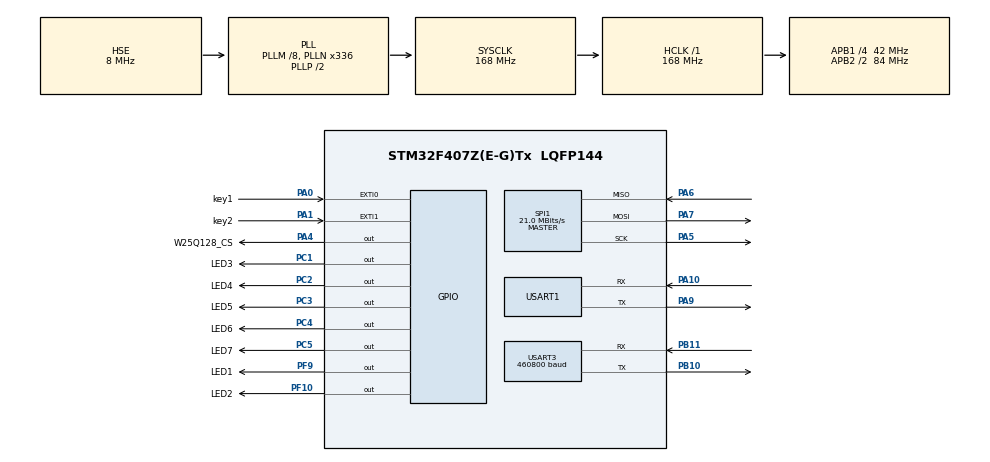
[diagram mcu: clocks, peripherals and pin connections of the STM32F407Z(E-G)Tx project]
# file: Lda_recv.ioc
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Dma.Request0=USART3_RX
Dma.USART3_RX.0.Direction=DMA_PERIPH_TO_MEMORY
Dma.USART3_RX.0.FIFOMode=DMA_FIFOMODE_DISABLE
Dma.USART3_RX.0.Instance=DMA1_Stream1
Dma.USART3_RX.0.MemDataAlignment=DMA_MDATAALIGN_BYTE
Dma.USART3_RX.0.MemInc=DMA_MINC_ENABLE
Dma.USART3_RX.0.Mode=DMA_NORMAL
Dma.USART3_RX.0.PeriphDataAlignment=DMA_PDATAALIGN_BYTE
Dma.USART3_RX.0.PeriphInc=DMA_PINC_DISABLE
Dma.USART3_RX.0.Priority=DMA_PRIORITY_HIGH
Mcu.Family=STM32F4
Mcu.Name=STM32F407Z(E-G)Tx
Mcu.Package=LQFP144
NVIC.DMA1_Stream1_IRQn=true\:0\:0\:false\:false\:true\:true
NVIC.EXTI0_IRQn=true\:1\:1\:true\:false\:true\:true
NVIC.EXTI1_IRQn=true\:1\:0\:true\:false\:true\:true
NVIC.PriorityGroup=NVIC_PRIORITYGROUP_2
NVIC.USART3_IRQn=true\:2\:0\:true\:false\:true\:true
PA0-WKUP.GPIO_Label=key1
PA0-WKUP.GPIO_ModeDefaultEXTI=GPIO_MODE_IT_RISING
PA0-WKUP.GPIO_PuPd=GPIO_PULLDOWN
PA0-WKUP.Signal=GPXTI0
PA1.GPIO_Label=key2
PA1.GPIO_ModeDefaultEXTI=GPIO_MODE_IT_FALLING
PA1.GPIO_PuPd=GPIO_PULLUP
PA1.Signal=GPXTI1
PA10.Mode=Asynchronous
PA10.Signal=USART1_RX
PA4.GPIO_Label=W25Q128_CS
PA4.PinState=GPIO_PIN_SET
PA4.Signal=GPIO_Output
PA5.Mode=Full_Duplex_Master
PA5.Signal=SPI1_SCK
PA6.Mode=Full_Duplex_Master
PA6.Signal=SPI1_MISO
PA7.Mode=Full_Duplex_Master
PA7.Signal=SPI1_MOSI
PA9.Mode=Asynchronous
PA9.Signal=USART1_TX
PB10.Mode=Asynchronous
PB10.Signal=USART3_TX
PB11.Mode=Asynchronous
PB11.Signal=USART3_RX
PC1.GPIO_Label=LED3
PC1.PinState=GPIO_PIN_SET
PC1.Signal=GPIO_Output
PC2.GPIO_Label=LED4
PC2.PinState=GPIO_PIN_SET
PC2.Signal=GPIO_Output
PC3.GPIO_Label=LED5
PC3.PinState=GPIO_PIN_SET
PC3.Signal=GPIO_Output
PC4.GPIO_Label=LED6
PC4.PinState=GPIO_PIN_SET
PC4.Signal=GPIO_Output
PC5.GPIO_Label=LED7
PC5.PinState=GPIO_PIN_SET
PC5.Signal=GPIO_Output
PF10.GPIO_Label=LED2
PF10.PinState=GPIO_PIN_SET
PF10.Signal=GPIO_Output
PF9.GPIO_Label=LED1
PF9.PinState=GPIO_PIN_SET
PF9.Signal=GPIO_Output
PH0-OSC_IN.Mode=HSE-External-Oscillator
PH0-OSC_IN.Signal=RCC_OSC_IN
PH1-OSC_OUT.Mode=HSE-External-Oscillator
PH1-OSC_OUT.Signal=RCC_OSC_OUT
ProjectManager.HeapSize=0x200
ProjectManager.StackSize=0x400
ProjectManager.TargetToolchain=MDK-ARM V5
RCC.48MHZClocksFreq_Value=84000000
RCC.AHBFreq_Value=168000000
RCC.APB1CLKDivider=RCC_HCLK_DIV4
RCC.APB1Freq_Value=42000000
RCC.APB1TimFreq_Value=84000000
RCC.APB2CLKDivider=RCC_HCLK_DIV2
RCC.APB2Freq_Value=84000000
RCC.APB2TimFreq_Value=168000000
RCC.CortexFreq_Value=168000000
RCC.EnbaleCSS=true
RCC.HCLKFreq_Value=168000000
RCC.HSE_VALUE=8000000
RCC.HSI_VALUE=16000000
RCC.LSE_VALUE=32768
RCC.PLLM=8
RCC.PLLN=336
RCC.PLLSourceVirtual=RCC_PLLSOURCE_HSE
RCC.SYSCLKFreq_VALUE=168000000
RCC.SYSCLKSource=RCC_SYSCLKSOURCE_PLLCLK
RCC.VCOOutputFreq_Value=336000000
SPI1.BaudRatePrescaler=SPI_BAUDRATEPRESCALER_4
SPI1.CLKPhase=SPI_PHASE_2EDGE
SPI1.CLKPolarity=SPI_POLARITY_HIGH
SPI1.CalculateBaudRate=21.0 MBits/s
SPI1.Direction=SPI_DIRECTION_2LINES
SPI1.Mode=SPI_MODE_MASTER
SPI1.VirtualType=VM_MASTER
USART1.VirtualMode=VM_ASYNC
USART3.BaudRate=460800
USART3.VirtualMode=VM_ASYNC
board=Lda_recv

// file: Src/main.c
/**
  ******************************************************************************
  * File Name          : main.c
  * Description        : Main program body
  ******************************************************************************
  ** This notice applies to any and all portions of this file
  * that are not between comment pairs USER CODE BEGIN and
  * USER CODE END. Other portions of this file, whether
  * inserted by the user or by software development tools
  * are owned by their respective copyright owners.
  *
  * COPYRIGHT(c) 2017 STMicroelectronics
  *
  * Redistribution and use in source and binary forms, with or without modification,
  * are permitted provided that the following conditions are met:
  *   1. Redistributions of source code must retain the above copyright notice,
  *      this list of conditions and the following disclaimer.
  *   2. Redistributions in binary form must reproduce the above copyright notice,
  *      this list of conditions and the following disclaimer in the documentation
  *      and/or other materials provided with the distribution.
  *   3. Neither the name of STMicroelectronics nor the names of its contributors
  *      may be used to endorse or promote products derived from this software
  *      without specific prior written permission.
  *
  * THIS SOFTWARE IS PROVIDED BY THE COPYRIGHT HOLDERS AND CONTRIBUTORS "AS IS"
  * AND ANY EXPRESS OR IMPLIED WARRANTIES, INCLUDING, BUT NOT LIMITED TO, THE
  * IMPLIED WARRANTIES OF MERCHANTABILITY AND FITNESS FOR A PARTICULAR PURPOSE ARE
  * DISCLAIMED. IN NO EVENT SHALL THE COPYRIGHT HOLDER OR CONTRIBUTORS BE LIABLE
  * FOR ANY DIRECT, INDIRECT, INCIDENTAL, SPECIAL, EXEMPLARY, OR CONSEQUENTIAL
  * DAMAGES (INCLUDING, BUT NOT LIMITED TO, PROCUREMENT OF SUBSTITUTE GOODS OR
  * SERVICES; LOSS OF USE, DATA, OR PROFITS; OR BUSINESS INTERRUPTION) HOWEVER
  * CAUSED AND ON ANY THEORY OF LIABILITY, WHETHER IN CONTRACT, STRICT LIABILITY,
  * OR TORT (INCLUDING NEGLIGENCE OR OTHERWISE) ARISING IN ANY WAY OUT OF THE USE
  * OF THIS SOFTWARE, EVEN IF ADVISED OF THE POSSIBILITY OF SUCH DAMAGE.
  *
  ******************************************************************************
  */

#include "main.h"
#include "stm32f4xx_hal.h"
#include "dma.h"
#include "spi.h"
#include "usart.h"
#include "gpio.h"

/* USER CODE BEGIN Includes */
#include "exti.h"
#include "emg.h"
#include "w25q128.h"
/* USER CODE END Includes */

/* USER CODE BEGIN PV */
/* Private variables ---------------------------------------------------------*/
uint8_t predict[1000]={0};
uint8_t motiondetect=0;

__IO uint32_t DeviceID = 0;
__IO uint32_t FlashID = 0;

		uint8_t SAVE_LDA_TEMP[800]={0};
		uint8_t dtest[800]={0};
	  float32_t extract_LDA_TEMP[192]={0};

		uint8_t SAVE_Bias_Mat[24]={0};
		uint8_t etest[24]={0};
		float32_t extract_Bias_Mat[6]={0};

/* USER CODE END PV */

void SystemClock_Config(void);

/* USER CODE BEGIN PFP */
/* Private function prototypes -----------------------------------------------*/

/* USER CODE END PFP */

int main(void)
{

  /* MCU Configuration----------------------------------------------------------*/

  /* Reset of all peripherals, Initializes the Flash interface and the Systick. */
  HAL_Init();

  /* Configure the system clock */
  SystemClock_Config();

  /* Initialize all configured peripherals */
  MX_GPIO_Init();
  MX_DMA_Init();
  MX_USART3_UART_Init();
  MX_SPI1_Init();
  MX_USART1_UART_Init();

  /* USER CODE BEGIN 2 */
	initiate_filter();//滤波器初始化
  HAL_UART_Receive_DMA(&huart3,recv_buff,recv_buff_index_max);
	LED1=0;HAL_Delay(50);LED2=0;HAL_Delay(50);LED3=0;HAL_Delay(50);LED4=0;HAL_Delay(50);LED5=0;HAL_Delay(50);//提示初始化成功
	LED1=1;HAL_Delay(50);LED2=1;HAL_Delay(50);LED3=1;HAL_Delay(50);LED4=1;HAL_Delay(50);LED5=1;HAL_Delay(50);
  /* USER CODE END 2 */

  /* Infinite loop */
  /* USER CODE BEGIN WHILE */

	SPI_FLASH_SendByte(0xff);
	DeviceID = SPI_FLASH_ReadDeviceID();
	FlashID = SPI_FLASH_ReadID();
	printf("%x,%x\r\n",DeviceID,FlashID);

	/* Check the SPI Flash ID */
	if (FlashID == SPI_FLASH_ID)  /* #define  sFLASH_ID  0XEF4018 */
	{
		/* 擦除SPI的扇区以写入 */
//		SPI_FLASH_SectorErase(FLASH_SectorToErase);
		/* 将发送缓冲区的数据写到flash中 */
//		SPI_FLASH_BufferWrite(SAVE_LDA_TEMP, FLASH_WriteAddress, 768);
		/* 将刚刚写入的数据读出来放到接收缓冲区中 */
		SPI_FLASH_BufferRead(dtest, FLASH_ReadAddress, 768);

//		SPI_FLASH_BufferWrite(SAVE_Bias_Mat, 0xf00, 24);
		/* 将刚刚写入的数据读出来放到接收缓冲区中 */
		SPI_FLASH_BufferRead(etest, 0xf00, 24);
	}
	else
	{
		printf("读取模型失败!\n");
	}
	char *pa=dtest;
	char *pb=etest;
	for(int temp_i=0;temp_i<192;temp_i++)
		{
		 extract_LDA_TEMP[temp_i]=*((float *)pa+temp_i);
		 printf("%f\r\n",extract_LDA_TEMP[temp_i]);
		}
	//extract_LDA_TEMP[192]转化为LDA_TEMP[32][6];
	for(int i=0,count=0;i<32;i++)
	{
		for(int j=0;j<6;j++)
		{
	       LDA_TEMP[i][j]=extract_LDA_TEMP[count++];
		}
	}

	for(int temp_i=0;temp_i<6;temp_i++)
		{
		 Bias_Mat[temp_i]=*((float *)pb+temp_i);
		 printf("%f\r\n",Bias_Mat[temp_i]);
		}

  while (1)
  {
  /* USER CODE END WHILE */

  /* USER CODE BEGIN 3 */
	//1.接收数据
		if(DMA_recv_complete_flag)
		{
		 HAL_UART_Receive_DMA(&huart3,recv_buff,recv_buff_index_max);
		 deal_with_recv_buff();
		 DMA_recv_complete_flag = 0;

		}
	//2.开始训练
    if(trainig_flag ==1)
	  {
		  //trainig_flag=0;在emg.c处LDA_train函数中置零
			if(data_full_flag==1)
			{
				data_full_flag=0;
				if((count_temp+3)%50>=9)//count_temp=6-46, 56-96.............
				{
					feature_extraction();
					for(int i=0;i<32;i++)
					{
					 feat_matrix[window_count][i]=feat[i];
					}
					window_count++;
				}
			 }
			 if(window_count==410&&dur==0)//训练数据收集完成
			 {
				 LDA_train(feat_matrix);
				//数据float32_t LDA_TEMP[32][6];float32_t Bias_Mat[6];存储在w25q128
				/********************开始存数据********************************************************/
				 char *pc=(char*)LDA_TEMP;
				 char *pd=(char*)Bias_Mat;
				 for(int temp_i=0;temp_i<768;temp_i++)
					{
							SAVE_LDA_TEMP[temp_i]=*(pc+temp_i);
					}
				 for(int temp_i=0;temp_i<24;temp_i++)
					{
							SAVE_Bias_Mat[temp_i]=*(pd+temp_i);
					}
					/* Check the SPI Flash ID */
					if (FlashID == SPI_FLASH_ID)  /* #define  sFLASH_ID  0XEF4018 */
					{
						/* 擦除SPI的扇区以写入 */
						SPI_FLASH_SectorErase(FLASH_SectorToErase);
						/* 将发送缓冲区的数据写到flash中 */
						SPI_FLASH_BufferWrite(SAVE_LDA_TEMP, FLASH_WriteAddress, 768);
						/* 将刚刚写入的数据读出来放到接收缓冲区中 */
						SPI_FLASH_BufferRead(dtest, FLASH_ReadAddress, 768);

						SPI_FLASH_BufferWrite(SAVE_Bias_Mat, 0xf00, 24);
						/* 将刚刚写入的数据读出来放到接收缓冲区中 */
						SPI_FLASH_BufferRead(etest, 0xf00, 24);
					}
					else
					{
						printf("获取不到 W25Q128 ID!\n");
					}
					pc=dtest;
          pd=etest;
					for(int temp_i=0;temp_i<192;temp_i++)
						{
						 extract_LDA_TEMP[temp_i]=*((float *)pc+temp_i);
						 printf("%f\r\n",extract_LDA_TEMP[temp_i]);
						}
					for(int temp_i=0;temp_i<6;temp_i++)
						{
						 extract_Bias_Mat[temp_i]=*((float *)pd+temp_i);
						 printf("%f\r\n",extract_Bias_Mat[temp_i]);
						}
				 /********************结束存数据********************************************************/
					LED1=0;HAL_Delay(50);LED2=0;HAL_Delay(50);LED3=0;HAL_Delay(50);LED4=0;HAL_Delay(50);LED5=0;HAL_Delay(50);//提示存储
					LED1=1;HAL_Delay(50);LED2=1;HAL_Delay(50);LED3=1;HAL_Delay(50);LED4=1;HAL_Delay(50);LED5=1;HAL_Delay(50);
				}
	  }

	//3.开始识别
		if(testing_flag==1)
		{
			if(data_full_flag==1)
			{
				data_full_flag=0;
				feature_extraction();
				predict[count%1000]=LDA_predict(feat);	//LDA_predict中会count++
				motiondetect=predict[count%1000];
				if(count>4&&predict[count%1000]==predict[(count-1)%1000]&&
				predict[(count-1)%1000]==predict[(count-2)%1000]&&
					predict[(count-2)%1000]==predict[(count-3)%1000]&&
					predict[(count-3)%1000]==predict[(count-4)%1000]&&
					predict[(count-4)%1000]==predict[(count-5)%1000])
				{
					switch(motiondetect)
					{
					case 0:
						//USART_SendData(USART1, 'N');
						//模式1
						{LED1=1;LED2=1;LED3=1;LED4=1;LED5=1;LED1=0;LED2=1;LED3=1;LED4=1;LED5=1;}
						break;
					case 1:
						//USART_SendData(USART1, 'P');
						//模式2
						{LED1=1;LED2=1;LED3=1;LED4=1;LED5=1;LED1=1;LED2=0;LED3=1;LED4=1;LED5=1;}
						break;
					case 2:
						//USART_SendData(USART1, 'R');
						//模式3
						{LED1=1;LED2=1;LED3=1;LED4=1;LED5=1;LED1=1;LED2=1;LED3=0;LED4=1;LED5=1;}
						break;
					case 3:
						//USART_SendData(USART1, 'T');
						//模式4
						{LED1=1;LED2=1;LED3=1;LED4=1;LED5=1;LED1=1;LED2=1;LED3=1;LED4=0;LED5=1;}
						break;
					case 4:
						//USART_SendData(USART1, 'B');
						//模式5
						{LED1=1;LED2=1;LED3=1;LED4=1;LED5=1;LED1=1;LED2=1;LED3=1;LED4=1;LED5=0;}
						break;
					case 5:
						//USART_SendData(USART1, '0');
						//模式6
						{LED1=1;LED2=1;LED3=1;LED4=1;LED5=1;LED1=0;LED2=0;LED3=0;LED4=0;LED5=0;}
						break;
						default:
							break;
					 }
				}
				if(count ==409)
				{
					LED6 =0;//提示数据结束了，等待下一次按键
					count = 0;//防止predict[1000]数组溢出
				}
			}
		}

  }
  /* USER CODE END 3 */

}

/** System Clock Configuration
*/
void SystemClock_Config(void)
{

  RCC_OscInitTypeDef RCC_OscInitStruct;
  RCC_ClkInitTypeDef RCC_ClkInitStruct;

    /**Configure the main internal regulator output voltage
    */
  __HAL_RCC_PWR_CLK_ENABLE();

  __HAL_PWR_VOLTAGESCALING_CONFIG(PWR_REGULATOR_VOLTAGE_SCALE1);

    /**Initializes the CPU, AHB and APB busses clocks
    */
  RCC_OscInitStruct.OscillatorType = RCC_OSCILLATORTYPE_HSE;
  RCC_OscInitStruct.HSEState = RCC_HSE_ON;
  RCC_OscInitStruct.PLL.PLLState = RCC_PLL_ON;
  RCC_OscInitStruct.PLL.PLLSource = RCC_PLLSOURCE_HSE;
  RCC_OscInitStruct.PLL.PLLM = 8;
  RCC_OscInitStruct.PLL.PLLN = 336;
  RCC_OscInitStruct.PLL.PLLP = RCC_PLLP_DIV2;
  RCC_OscInitStruct.PLL.PLLQ = 4;
  if (HAL_RCC_OscConfig(&RCC_OscInitStruct) != HAL_OK)
  {
    _Error_Handler(__FILE__, __LINE__);
  }

    /**Initializes the CPU, AHB and APB busses clocks
    */
  RCC_ClkInitStruct.ClockType = RCC_CLOCKTYPE_HCLK|RCC_CLOCKTYPE_SYSCLK
                              |RCC_CLOCKTYPE_PCLK1|RCC_CLOCKTYPE_PCLK2;
  RCC_ClkInitStruct.SYSCLKSource = RCC_SYSCLKSOURCE_PLLCLK;
  RCC_ClkInitStruct.AHBCLKDivider = RCC_SYSCLK_DIV1;
  RCC_ClkInitStruct.APB1CLKDivider = RCC_HCLK_DIV4;
  RCC_ClkInitStruct.APB2CLKDivider = RCC_HCLK_DIV2;

  if (HAL_RCC_ClockConfig(&RCC_ClkInitStruct, FLASH_LATENCY_5) != HAL_OK)
  {
    _Error_Handler(__FILE__, __LINE__);
  }

    /**Enables the Clock Security System
    */
  HAL_RCC_EnableCSS();

    /**Configure the Systick interrupt time
    */
  HAL_SYSTICK_Config(HAL_RCC_GetHCLKFreq()/1000);

    /**Configure the Systick
    */
  HAL_SYSTICK_CLKSourceConfig(SYSTICK_CLKSOURCE_HCLK);

  /* SysTick_IRQn interrupt configuration */
  HAL_NVIC_SetPriority(SysTick_IRQn, 0, 0);
}

void _Error_Handler(char * file, int line)
{
  while(1)
  {
  }
}

/************************ (C) COPYRIGHT STMicroelectronics *****END OF FILE****/
